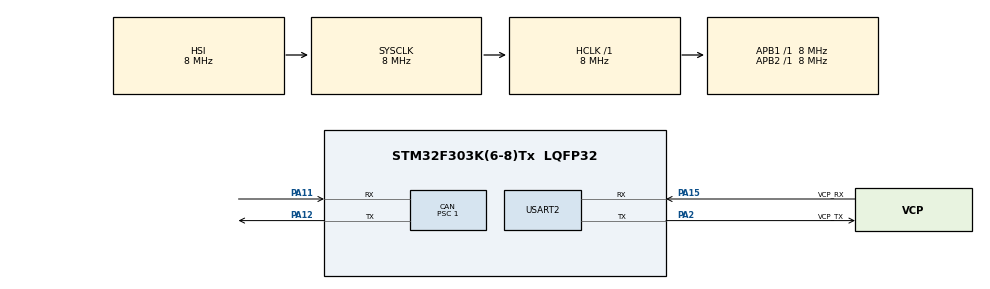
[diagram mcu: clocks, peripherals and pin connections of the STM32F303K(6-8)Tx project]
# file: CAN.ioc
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CAN.BS1=CAN_BS1_12TQ
CAN.BS2=CAN_BS2_3TQ
CAN.CalculateBaudRate=500000
CAN.CalculateTimeBit=2000
CAN.CalculateTimeQuantum=125.0
CAN.Prescaler=1
CAN.SJW=CAN_SJW_1TQ
Mcu.Family=STM32F3
Mcu.Name=STM32F303K(6-8)Tx
Mcu.Package=LQFP32
NVIC.CAN_RX0_IRQn=true\:0\:0\:false\:false\:true\:true\:true\:true
NVIC.PriorityGroup=NVIC_PRIORITYGROUP_4
PA11.Mode=CAN_Activate
PA11.Signal=CAN_RX
PA12.Mode=CAN_Activate
PA12.Signal=CAN_TX
PA13.GPIO_Label=SWDIO
PA13.Mode=Serial_Wire
PA13.Signal=SYS_JTMS-SWDIO
PA14.GPIO_Label=SWCLK
PA14.Mode=Serial_Wire
PA14.Signal=SYS_JTCK-SWCLK
PA15.GPIO_Label=VCP_RX
PA15.Mode=Asynchronous
PA15.Signal=USART2_RX
PA2.GPIO_Label=VCP_TX
PA2.Mode=Asynchronous
PA2.Signal=USART2_TX
PF0\ /\ OSC_IN.GPIO_Label=MCO
PF0\ /\ OSC_IN.Mode=HSE-External-Clock-Source
PF0\ /\ OSC_IN.Signal=RCC_OSC_IN
ProjectManager.HeapSize=0x200
ProjectManager.StackSize=0x400
ProjectManager.TargetToolchain=STM32CubeIDE
RCC.AHBFreq_Value=8000000
RCC.APB1Freq_Value=8000000
RCC.APB2Freq_Value=8000000
RCC.CortexFreq_Value=8000000
RCC.HSE_VALUE=8000000
RCC.HSI_VALUE=8000000
RCC.SYSCLKFreq_VALUE=8000000
USART2.VirtualMode-Asynchronous=VM_ASYNC
board=NUCLEO-F303K8

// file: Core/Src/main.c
/* USER CODE BEGIN Header */
/**
  ******************************************************************************
  * @file           : main.c
  * @brief          : Main program body
  ******************************************************************************
  * @attention
  *
  * Copyright (c) 2024 STMicroelectronics.
  * All rights reserved.
  *
  * This software is licensed under terms that can be found in the LICENSE file
  * in the root directory of this software component.
  * If no LICENSE file comes with this software, it is provided AS-IS.
  *
  ******************************************************************************
  */
/* USER CODE END Header */
#include "main.h"

/* USER CODE BEGIN Includes */
#include "string.h"
/* USER CODE END Includes */

CAN_HandleTypeDef hcan;

UART_HandleTypeDef huart2;

/* USER CODE BEGIN PV */

//送信用バッファ
uint8_t TxData[4];

//受信用バッファ
uint8_t data_recieved[4];
/* USER CODE END PV */

void SystemClock_Config(void);
static void MX_GPIO_Init(void);
static void MX_USART2_UART_Init(void);
static void MX_CAN_Init(void);

int main(void)
{

  /* MCU Configuration--------------------------------------------------------*/

  /* Reset of all peripherals, Initializes the Flash interface and the Systick. */
  HAL_Init();

  /* Configure the system clock */
  SystemClock_Config();

  /* Initialize all configured peripherals */
  MX_GPIO_Init();
  MX_USART2_UART_Init();
  MX_CAN_Init();
  /* USER CODE BEGIN 2 */
  HAL_CAN_Start(&hcan);
  HAL_CAN_ActivateNotification(&hcan, CAN_IT_RX_FIFO0_MSG_PENDING);

  CAN_FilterTypeDef filter;

  uint32_t fid = 0x100; // 0b 0000 0001 0000 0000
  uint32_t fmask = 0x7FC;
  filter.FilterIdHigh = fid << 5; // 0b 1000 0000 0000 0000
  filter.FilterIdLow = 0; // 0b 0000 0000 0000 0000
  filter.FilterMaskIdHigh = fmask << 5; // 0b 1111 1110 0000 0000;
  filter.FilterIdLow = 0; // 0b 0000 0000 0000 0000
  filter.FilterScale = CAN_FILTERSCALE_32BIT;
  filter.FilterFIFOAssignment = CAN_FILTER_FIFO0;
  filter.FilterBank = 0;
  filter.FilterMode = CAN_FILTERMODE_IDMASK;
  filter.SlaveStartFilterBank = 14;
  filter.FilterActivation = ENABLE;
  HAL_CAN_ConfigFilter(&hcan, &filter);
  /* USER CODE END 2 */

  /* Infinite loop */
  while (1)
  {
	  CAN_TxHeaderTypeDef TxHeader;
	  uint32_t TxMailbox;
	  uint8_t Data_1[8];

	  for(int i = 0; i<4; i++){
		  if(0<HAL_CAN_GetTxMailboxesFreeLevel(&hcan)){
			  TxHeader.StdId = 0x100 + i;
			  TxHeader.RTR = CAN_RTR_DATA;
			  TxHeader.IDE = CAN_ID_STD;
			  TxHeader.DLC = 8;
			  TxHeader.TransmitGlobalTime = DISABLE;

			  Data_1[i] = 0x00 + i;
			  memcpy(&TxData[0], &Data_1[i], sizeof(uint8_t));
			  HAL_CAN_AddTxMessage(&hcan, &TxHeader, TxData, &TxMailbox);
		  }
	  }

//	  for(int i = 0; i<4; i++){
//		  if(0<HAL_CAN_GetTxMailboxesFreeLevel(&hcan)){
//			  TxHeader.StdId = 0x500 + i;
//			  TxHeader.RTR = CAN_RTR_DATA;
//			  TxHeader.IDE = CAN_ID_STD;
//			  TxHeader.DLC = 8;
//			  TxHeader.TransmitGlobalTime = DISABLE;
//
//			  Data_1[i] = 0x00 + i;
//			  memcpy(&TxData[0], &Data_1[i], sizeof(uint8_t));
//			  HAL_CAN_AddTxMessage(&hcan, &TxHeader, TxData, &TxMailbox);
//		  }
//	  }

  }
}

void SystemClock_Config(void)
{
  RCC_OscInitTypeDef RCC_OscInitStruct = {0};
  RCC_ClkInitTypeDef RCC_ClkInitStruct = {0};

  /** Initializes the RCC Oscillators according to the specified parameters
  * in the RCC_OscInitTypeDef structure.
  */
  RCC_OscInitStruct.OscillatorType = RCC_OSCILLATORTYPE_HSI;
  RCC_OscInitStruct.HSIState = RCC_HSI_ON;
  RCC_OscInitStruct.HSICalibrationValue = RCC_HSICALIBRATION_DEFAULT;
  RCC_OscInitStruct.PLL.PLLState = RCC_PLL_NONE;
  if (HAL_RCC_OscConfig(&RCC_OscInitStruct) != HAL_OK)
  {
    Error_Handler();
  }

  /** Initializes the CPU, AHB and APB buses clocks
  */
  RCC_ClkInitStruct.ClockType = RCC_CLOCKTYPE_HCLK|RCC_CLOCKTYPE_SYSCLK
                              |RCC_CLOCKTYPE_PCLK1|RCC_CLOCKTYPE_PCLK2;
  RCC_ClkInitStruct.SYSCLKSource = RCC_SYSCLKSOURCE_HSI;
  RCC_ClkInitStruct.AHBCLKDivider = RCC_SYSCLK_DIV1;
  RCC_ClkInitStruct.APB1CLKDivider = RCC_HCLK_DIV1;
  RCC_ClkInitStruct.APB2CLKDivider = RCC_HCLK_DIV1;

  if (HAL_RCC_ClockConfig(&RCC_ClkInitStruct, FLASH_LATENCY_0) != HAL_OK)
  {
    Error_Handler();
  }
}

static void MX_CAN_Init(void)
{

  hcan.Instance = CAN;
  hcan.Init.Prescaler = 1;
  hcan.Init.Mode = CAN_MODE_NORMAL;
  hcan.Init.SyncJumpWidth = CAN_SJW_1TQ;
  hcan.Init.TimeSeg1 = CAN_BS1_12TQ;
  hcan.Init.TimeSeg2 = CAN_BS2_3TQ;
  hcan.Init.TimeTriggeredMode = DISABLE;
  hcan.Init.AutoBusOff = DISABLE;
  hcan.Init.AutoWakeUp = DISABLE;
  hcan.Init.AutoRetransmission = DISABLE;
  hcan.Init.ReceiveFifoLocked = DISABLE;
  hcan.Init.TransmitFifoPriority = DISABLE;
  if (HAL_CAN_Init(&hcan) != HAL_OK)
  {
    Error_Handler();
  }

}

static void MX_USART2_UART_Init(void)
{

  huart2.Instance = USART2;
  huart2.Init.BaudRate = 38400;
  huart2.Init.WordLength = UART_WORDLENGTH_8B;
  huart2.Init.StopBits = UART_STOPBITS_1;
  huart2.Init.Parity = UART_PARITY_NONE;
  huart2.Init.Mode = UART_MODE_TX_RX;
  huart2.Init.HwFlowCtl = UART_HWCONTROL_NONE;
  huart2.Init.OverSampling = UART_OVERSAMPLING_16;
  huart2.Init.OneBitSampling = UART_ONE_BIT_SAMPLE_DISABLE;
  huart2.AdvancedInit.AdvFeatureInit = UART_ADVFEATURE_NO_INIT;
  if (HAL_UART_Init(&huart2) != HAL_OK)
  {
    Error_Handler();
  }

}

static void MX_GPIO_Init(void)
{

  /* GPIO Ports Clock Enable */
  __HAL_RCC_GPIOF_CLK_ENABLE();
  __HAL_RCC_GPIOA_CLK_ENABLE();

}

/* USER CODE BEGIN 4 */
uint32_t id;
uint32_t dlc;
uint8_t data[8];

void HAL_CAN_RxFifo0MsgPendingCallback(CAN_HandleTypeDef *hcan){
	CAN_RxHeaderTypeDef RxHeader;
	uint8_t RxData[8];
	if(HAL_CAN_GetRxMessage(hcan, CAN_RX_FIFO0, &RxHeader, RxData) == HAL_OK){
		id = (RxHeader.IDE == CAN_ID_STD)? RxHeader.StdId : RxHeader.ExtId;
		dlc = RxHeader.DLC;
		for(int i = 0; i<4; i++){
			data_recieved[i] = RxData[i];
		}
	}
}

/* USER CODE END 4 */

void Error_Handler(void)
{
  __disable_irq();
  while (1)
  {
  }
}
